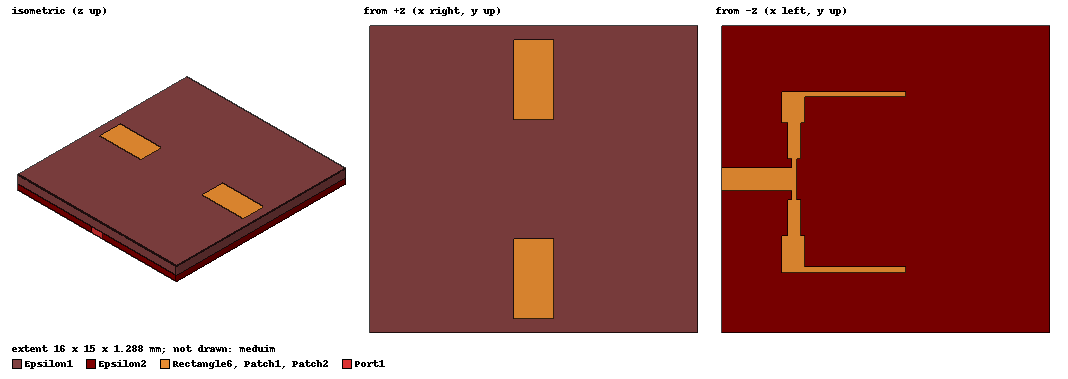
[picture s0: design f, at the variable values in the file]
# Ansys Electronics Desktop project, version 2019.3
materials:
  vacuum: permittivity=1
  Rogers RO3003 (tm): permittivity=3 dielectric_loss_tangent=0.0013
  FR4_epoxy: permittivity=4.4 dielectric_loss_tangent=0.02
  Rogers RO4350 (tm): permittivity=3.66 dielectric_loss_tangent=0.004
  air: permittivity=1.0006 permeability=1.0000004
  copper: permeability=0.999991 conductivity=58000000

design f (HFSS, DrivenModal, model units mm)
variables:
  S = 5.77mm
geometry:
  Ground = rectangle(corner=((-16/2) mm, (-15/2) mm, 0.508mm), x_size=16mm, y_size=15mm)
  Slot = rectangle(corner=((-0.3/2) mm, -(S/2+0.75mm), 0.508mm), x_size=0.3mm, y_size=-2.4mm)
  Ground.subtract(Slot)
  Epsilon2 [Rogers RO4350 (tm)] = box(corner=((-16/2) mm, (-15/2) mm, 0mm), size=(16mm, 15mm, 0.508mm))
  Epsilon1 [Rogers RO4350 (tm)] = box(corner=((-16/2) mm, (-15/2) mm, 0.508mm), size=(16mm, 15mm, 0.78mm))
  Patch1 = rectangle(corner=((-1.96/2) mm, -S/2, (0.508+0.78) mm), x_size=1.96mm, y_size=-3.9mm)
  Port1 = rectangle(corner=((16/2) mm, (-1.09/2) mm, 0mm), y_size=1.09mm, z_size=0.508mm)
  meduim [air] = box(corner=((-20/2) mm, (-30/2) mm, (-20/2) mm), size=(20mm, 30mm, 20mm))
  Patch2 = rectangle(corner=((-1.96/2) mm, S/2, (0.508+0.78) mm), x_size=1.96mm, y_size=3.9mm)
  Slot1 = rectangle(corner=((-0.3/2) mm, S/2+0.75mm, 0.508mm), x_size=0.3mm, y_size=2.4mm)
  Ground.subtract(Slot1)
  feeding = rectangle(corner=((9.2/2) mm, (-1.112/2) mm, 0mm), x_size=3.4mm, y_size=1.112mm)
  split1 = rectangle(corner=(4.33mm, 0mm, 0mm), x_size=0.277726mm, y_size=1mm)
  split2 = rectangle(corner=(4.33mm, 0mm, 0mm), x_size=0.277726mm, y_size=-1mm)
  split2.unite(split1, feeding)
  Rectangle1 = rectangle(corner=((4.607726+0.604502/2-0.277726/2) mm, -1mm, 0mm), x_size=-0.604502mm, y_size=-1.744807mm)
  Rectangle2 = rectangle(corner=((9.2/2+0.604502/2-0.277726/2) mm, 1mm, 0mm), x_size=-0.604502mm, y_size=1.744807mm)
  Rectangle3 = rectangle(corner=((4.771114+0.302251) mm, -2.744807mm, 0mm), x_size=-1.11mm, y_size=-S/2+1.349807mm)
  Rectangle4 = rectangle(corner=((4.771114+0.302251) mm, 2.744807mm, 0mm), x_size=-1.11mm, y_size=S/2-1.349807mm)
  Rectangle5 = rectangle(corner=(5.073365mm, -(S/2+1.395mm), 0), x_size=(-5.073365-1.96/2) mm, y_size=-0.273352mm)
  Rectangle6 = rectangle(corner=(5.073365mm, (S/2+1.395mm), 0), x_size=(-5.073365-1.96/2) mm, y_size=-0.273352mm)
  Rectangle6.unite(Rectangle5, Rectangle4, Rectangle3, Rectangle2, Rectangle1, split2)
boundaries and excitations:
  Rad1: Radiation Objects=meduim
  PerfE1: Perfect E Objects=Rectangle6
  PerfE2: Perfect E Objects=Patch1
  PerfE3: Perfect E Objects=Patch2
  PerfE4: Perfect E Objects=Ground
  1: Lumped Port Objects=Port1 Modes{Mode1{IntLine{middle of Port1.edge(z at corner) -> middle of Port1.edge(z opposite corner)} CharImp=Zpi RenormImp=50ohm}} Impedance=50ohm
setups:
  Setup1: HfssDrivenAuto IsAutoSetup AutoSolverSetting=Balanced SaveAnyFields=false Type=Interpolating
    sweep Sweep: 20GHz to 34GHz, 501 points;
  Setup2: HfssDriven Frequency=26GHz MaxDeltaS=0.02 MaximumPasses=20 MinimumPasses=1 MinimumConvergedPasses=1 PercentRefinement=30 BasisOrder=1 PortAccuracy=2
    sweep Sweep: 20GHz to 34GHz step 0.065GHz; Type=Interpolating InterpTolerance=0.5 InterpMaxSolns=250 InterpUsePortImped=false PassivityErrorTolerance=0.0001
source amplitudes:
  1:1: 1W 0deg
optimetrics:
  ParametricSetup1: Parametric Sim._Setups=[Setup1, Setup2]
  ParametricSetup2: Parametric Sim._Setups=[Setup2]
  ParametricSetup3: Parametric Sim._Setups=[Setup1, Setup2]
  ParametricSetup4: Parametric Sim._Setups=[Setup1, Setup2]
  ParametricSetup5: Parametric Sim._Setups=[Setup1, Setup2]
  ParametricSetup6: Parametric Sim._Setups=[Setup1, Setup2]
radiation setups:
  Infinite Sphere1: Infinite Sphere Theta=0deg..180deg step 2deg Phi=-180deg..180deg step 2deg
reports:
  S Parameter Plot 1: dB(S(1,1)) vs Freq on Setup1 : Sweep
  Gain Plot 1: GainTotal vs Phi, Theta on Setup2 : LastAdaptive, Infinite Sphere1 [Freq=26GHz]
  S Parameter Plot 2: dB(S(1,1)) vs Freq on Setup1 : Sweep
  Gain Plot 2: GainTotal vs Phi, Theta on Setup2 : LastAdaptive, Infinite Sphere1 [Freq=26GHz]
  S Parameter Plot 3: dB(S(1,1)) vs Freq on Setup1 : Sweep
  Gain Plot 3: GainTotal vs Phi, Theta on Setup2 : LastAdaptive, Infinite Sphere1 [Freq=26GHz]
  S Parameter Plot 4: dB(S(1,1)) vs Freq on Setup1 : Sweep
  Gain Plot 4: GainTotal vs Phi, Theta on Setup2 : LastAdaptive, Infinite Sphere1 [Freq=26GHz]
